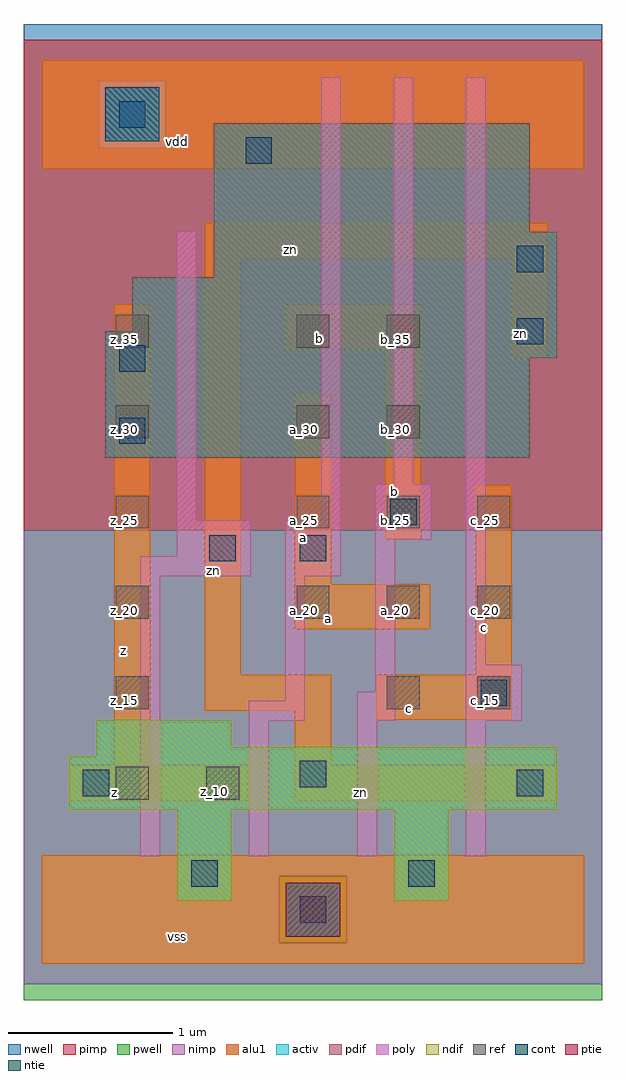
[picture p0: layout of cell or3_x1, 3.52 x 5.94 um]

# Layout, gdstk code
import gdstk
lib = gdstk.Library(unit=1e-6, precision=2.5e-09)
def R(c, l, rs):  # rectangles x0, y0, x1, y1
    for r in rs: c.add(gdstk.rectangle(r[:2], r[2:], *l))
def A(c, l, x, y, w, h, nx, ny, dx, dy):  # array of equal rectangles
    R(c, l, [(x+i*dx, y+j*dy, x+i*dx+w, y+j*dy+h) for i in range(nx) for j in range(ny)])
ndif = (3, 0)
pdif = (4, 0)
ntie = (5, 0)
ptie = (6, 0)
ref = (24, 0)
cont = (25, 0)
pwell = (41, 0)
nwell = (42, 0)
activ = (43, 0)
pimp = (44, 0)
nimp = (45, 0)
poly = (46, 0)
alu1 = (49, 0)

or3_x1 = lib.new_cell('or3_x1')
R(or3_x1, ndif, [(0.825,0.385,1.155,0.935), (2.145,0.385,2.475,0.935), (0.165,0.935,3.135,1.265), (0.33,1.265,3.135,1.32), (0.33,1.32,1.155,1.485)])
R(or3_x1, pdif, [(0.385,3.08,2.97,3.685), (0.385,3.685,3.135,3.85), (0.55,3.85,3.135,4.18), (1.045,4.18,3.135,4.455), (1.045,4.455,2.97,5.115)])
R(or3_x1, ntie, [(0.385,5.005,0.715,5.335)])
R(or3_x1, ptie, [(1.485,0.165,1.815,0.495)])
A(or3_x1, ref, 0.45, 1, 0.2, 0.2, 1, 6, 0, 0.55)
A(or3_x1, ref, 1.55, 2.1, 0.2, 0.2, 3, 2, 0.55, 0.55)
R(or3_x1, ref, [(1,1,1.2,1.2), (2.1,1.55,2.3,1.75), (2.65,1.55,2.85,1.75), (1.55,3.2,1.75,3.4), (2.1,3.2,2.3,3.4), (1.55,3.75,1.75,3.95), (2.1,3.75,2.3,3.95)])
R(or3_x1, cont, [(1.57,0.25,1.73,0.41), (0.91,0.47,1.07,0.63), (2.23,0.47,2.39,0.63), (0.25,1.02,0.41,1.18), (2.89,1.02,3.05,1.18), (1.57,1.075,1.73,1.235), (2.67,1.57,2.83,1.73), (1.02,2.45,1.18,2.61), (1.57,2.45,1.73,2.61), (2.12,2.67,2.28,2.83), (0.47,3.165,0.63,3.325), (0.47,3.605,0.63,3.765), (2.89,3.77,3.05,3.93), (2.89,4.21,3.05,4.37), (1.24,4.87,1.4,5.03), (0.47,5.09,0.63,5.25)])
R(or3_x1, pwell, [(-0.11,-0.22,3.41,2.64)])
R(or3_x1, nwell, [(-0.11,2.64,3.41,5.72)])
R(or3_x1, activ, [(1.485,0.165,1.815,0.495), (0.825,0.385,1.155,0.935), (2.145,0.385,2.475,0.935), (0.165,0.935,3.135,1.265), (0.33,1.265,3.135,1.32), (0.33,1.32,1.155,1.485), (0.385,3.08,2.97,3.685), (0.385,3.685,3.135,3.85), (0.55,3.85,3.135,4.18), (1.045,4.18,3.135,4.455), (1.045,4.455,2.97,5.115), (0.385,5.005,0.715,5.335)])
R(or3_x1, pimp, [(1.445,0.125,1.855,0.535), (-0.11,2.64,3.41,4.965), (-0.11,4.965,0.345,5.375), (0.755,4.965,3.41,5.375), (-0.11,5.375,3.41,5.625)])
R(or3_x1, nimp, [(-0.11,-0.125,3.41,0.125), (-0.11,0.125,1.445,0.535), (1.855,0.125,3.41,0.535), (-0.11,0.535,3.41,2.64), (0.345,4.965,0.755,5.375)])
A(or3_x1, poly, 1.26, 0.655, 0.12, 0.825, 3, 1, 0.66, 0)
R(or3_x1, poly, [(0.6,0.655,0.72,2.36), (1.26,1.48,1.6,1.6), (1.92,1.48,2.15,1.655), (2.58,1.48,2.92,1.82), (1.48,1.6,1.6,2.36), (2.03,1.655,2.15,2.58), (2.58,1.82,2.7,5.395), (0.6,2.36,1.27,2.48), (1.48,2.36,1.82,2.7), (0.82,2.48,1.27,2.7), (2.03,2.58,2.37,2.92), (0.82,2.7,0.94,4.46), (1.7,2.7,1.82,5.395), (2.14,2.92,2.26,5.395)])
R(or3_x1, alu1, [(0,0,3.3,0.66), (0.165,0.99,1.265,1.21), (1.54,0.99,3.135,1.21), (0.44,1.21,0.66,4.015), (1.54,1.21,1.76,1.54), (2.035,1.485,2.86,1.76), (0.99,1.54,1.76,1.76), (0.99,1.76,1.21,4.29), (2.64,1.76,2.86,2.915), (1.54,2.035,2.365,2.31), (1.54,2.31,1.76,3.465), (2.09,2.585,2.31,3.74), (2.86,3.685,3.08,4.29), (1.485,3.74,2.31,4.015), (0.99,4.29,3.08,4.51), (0,4.84,3.3,5.5)])
or3_x1.add(gdstk.Label('vss', (0.825,0.165), layer=49, texttype=0))
or3_x1.add(gdstk.Label('zn', (1.9375,1.045), layer=49, texttype=0))
or3_x1.add(gdstk.Label('z', (0.44,1.045), layer=49, texttype=0))
or3_x1.add(gdstk.Label('c', (2.24,1.5525), layer=49, texttype=0))
or3_x1.add(gdstk.Label('c', (2.695,2.0475), layer=49, texttype=0))
or3_x1.add(gdstk.Label('a', (1.745,2.1025), layer=49, texttype=0))
or3_x1.add(gdstk.Label('zn', (2.915,3.835), layer=49, texttype=0))
or3_x1.add(gdstk.Label('b', (2.145,2.8725), layer=49, texttype=0))
or3_x1.add(gdstk.Label('a', (1.595,2.5975), layer=49, texttype=0))
or3_x1.add(gdstk.Label('b', (1.69,3.8075), layer=49, texttype=0))
or3_x1.add(gdstk.Label('zn', (1.045,2.3925), layer=49, texttype=0))
or3_x1.add(gdstk.Label('z', (0.495,1.91), layer=49, texttype=0))
or3_x1.add(gdstk.Label('zn', (1.5125,4.345), layer=49, texttype=0))
or3_x1.add(gdstk.Label('vdd', (0.825,5.005), layer=49, texttype=0))
or3_x1.add(gdstk.Label('b_35', (1.6,3.8), layer=24, texttype=0))
or3_x1.add(gdstk.Label('b_35', (2.15,3.8), layer=24, texttype=0))
or3_x1.add(gdstk.Label('b_30', (2.15,3.25), layer=24, texttype=0))
or3_x1.add(gdstk.Label('b_25', (2.15,2.7), layer=24, texttype=0))
or3_x1.add(gdstk.Label('a_30', (1.6,3.25), layer=24, texttype=0))
or3_x1.add(gdstk.Label('a_25', (1.6,2.7), layer=24, texttype=0))
or3_x1.add(gdstk.Label('a_20', (1.6,2.15), layer=24, texttype=0))
or3_x1.add(gdstk.Label('a_20', (2.15,2.15), layer=24, texttype=0))
or3_x1.add(gdstk.Label('z_30', (0.5,3.25), layer=24, texttype=0))
or3_x1.add(gdstk.Label('z_25', (0.5,2.7), layer=24, texttype=0))
or3_x1.add(gdstk.Label('z_20', (0.5,2.15), layer=24, texttype=0))
or3_x1.add(gdstk.Label('z_15', (0.5,1.6), layer=24, texttype=0))
or3_x1.add(gdstk.Label('z_10', (0.5,1.05), layer=24, texttype=0))
or3_x1.add(gdstk.Label('z_10', (1.05,1.05), layer=24, texttype=0))
or3_x1.add(gdstk.Label('z_35', (0.5,3.8), layer=24, texttype=0))
or3_x1.add(gdstk.Label('c_20', (2.7,2.15), layer=24, texttype=0))
or3_x1.add(gdstk.Label('c_25', (2.7,2.7), layer=24, texttype=0))
or3_x1.add(gdstk.Label('c_15', (2.7,1.6), layer=24, texttype=0))
or3_x1.add(gdstk.Label('c_15', (2.15,1.6), layer=24, texttype=0))

lib.write_gds('or3_x1.gds')
